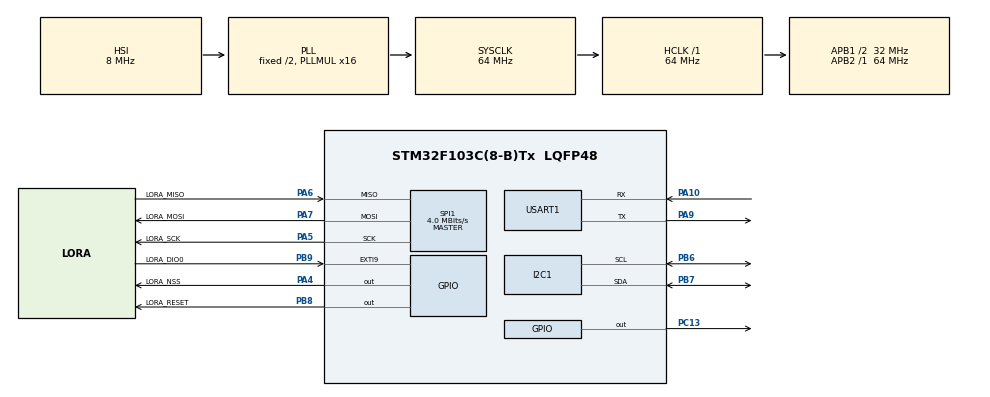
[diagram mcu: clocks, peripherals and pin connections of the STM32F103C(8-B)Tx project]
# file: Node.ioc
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Mcu.Family=STM32F1
Mcu.Name=STM32F103C(8-B)Tx
Mcu.Package=LQFP48
NVIC.EXTI9_5_IRQn=true\:1\:0\:true\:false\:true\:true\:true\:true
NVIC.PriorityGroup=NVIC_PRIORITYGROUP_4
NVIC.RTC_Alarm_IRQn=true\:0\:0\:false\:false\:true\:true\:true\:true
NVIC.RTC_IRQn=true\:0\:0\:false\:false\:true\:true\:true\:true
NVIC.TIM2_IRQn=true\:1\:0\:true\:false\:true\:true\:true\:true
PA10.Mode=Asynchronous
PA10.Signal=USART1_RX
PA13.Mode=Serial_Wire
PA13.Signal=SYS_JTMS-SWDIO
PA14.Mode=Serial_Wire
PA14.Signal=SYS_JTCK-SWCLK
PA4.GPIO_Label=LORA_NSS
PA4.GPIO_PuPd=GPIO_PULLUP
PA4.Signal=GPIO_Output
PA5.GPIO_Label=LORA_SCK
PA5.Mode=Full_Duplex_Master
PA5.Signal=SPI1_SCK
PA6.GPIO_Label=LORA_MISO
PA6.Mode=Full_Duplex_Master
PA6.Signal=SPI1_MISO
PA7.GPIO_Label=LORA_MOSI
PA7.Mode=Full_Duplex_Master
PA7.Signal=SPI1_MOSI
PA9.Mode=Asynchronous
PA9.Signal=USART1_TX
PB6.Mode=I2C
PB6.Signal=I2C1_SCL
PB7.Mode=I2C
PB7.Signal=I2C1_SDA
PB8.GPIO_Label=LORA_RESET
PB8.GPIO_PuPd=GPIO_PULLUP
PB8.PinState=GPIO_PIN_SET
PB8.Signal=GPIO_Output
PB9.GPIO_Label=LORA_DIO0
PB9.GPIO_ModeDefaultEXTI=GPIO_MODE_IT_RISING
PB9.Signal=GPXTI9
PC13-TAMPER-RTC.GPIO_PuPd=GPIO_PULLUP
PC13-TAMPER-RTC.PinState=GPIO_PIN_SET
PC13-TAMPER-RTC.Signal=GPIO_Output
ProjectManager.HeapSize=0x200
ProjectManager.StackSize=0x400
ProjectManager.TargetToolchain=STM32CubeIDE
RCC.AHBFreq_Value=64000000
RCC.APB1CLKDivider=RCC_HCLK_DIV2
RCC.APB1Freq_Value=32000000
RCC.APB1TimFreq_Value=64000000
RCC.APB2Freq_Value=64000000
RCC.APB2TimFreq_Value=64000000
RCC.HCLKFreq_Value=64000000
RCC.PLLMUL=RCC_PLL_MUL16
RCC.SYSCLKFreq_VALUE=64000000
RCC.SYSCLKSource=RCC_SYSCLKSOURCE_PLLCLK
RCC.USBFreq_Value=64000000
RTC.AsynchPrediv=39999
RTC.AutoPrediv=0
RTC.Format=RTC_FORMAT_BIN
SPI1.BaudRatePrescaler=SPI_BAUDRATEPRESCALER_16
SPI1.CalculateBaudRate=4.0 MBits/s
SPI1.Direction=SPI_DIRECTION_2LINES
SPI1.Mode=SPI_MODE_MASTER
SPI1.VirtualType=VM_MASTER
TIM2.AutoReloadPreload=TIM_AUTORELOAD_PRELOAD_ENABLE
TIM2.Period=999
TIM2.Prescaler=6399
USART1.VirtualMode=VM_ASYNC
VP_RTC_VS_RTC_Activate.Mode=RTC_Enabled
VP_RTC_VS_RTC_Calendar.Mode=RTC_Calendar
VP_TIM2_VS_ClockSourceINT.Mode=Internal
VP_TIM2_VS_ClockSourceITR.Mode=TriggerSource_ITR0
board=custom

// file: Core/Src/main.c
/* USER CODE BEGIN Header */
/**
  ******************************************************************************
  * @file           : main.c
  * @brief          : Main program body
  ******************************************************************************
  * @attention
  *
  * Copyright (c) 2026 STMicroelectronics.
  * All rights reserved.
  *
  * This software is licensed under terms that can be found in the LICENSE file
  * in the root directory of this software component.
  * If no LICENSE file comes with this software, it is provided AS-IS.
  *
  ******************************************************************************
  */
/* USER CODE END Header */
#include "main.h"

/* USER CODE BEGIN Includes */
#include "string.h"
#include "SHT30.h"
#include "LoRa.h"
#include "LoRa_network.h"
#include "node.h"

/* USER CODE END Includes */

/* USER CODE BEGIN PD */
#define NODE_ID  2

#if (NODE_ID == 1)
	#define TIME_SPACE_TX 1400
    #define PRESCALER 39999

#elif (NODE_ID == 2)
	#define TIME_SPACE_TX 900
    #define PRESCALER 39350

#elif (NODE_ID == 3)
	#define TIME_SPACE_TX 1200
    #define PRESCALER 39350
#else
    #define PRESCALER 39999
#endif
/* USER CODE END PD */

I2C_HandleTypeDef hi2c1;

RTC_HandleTypeDef hrtc;

SPI_HandleTypeDef hspi1;

TIM_HandleTypeDef htim2;

UART_HandleTypeDef huart1;

/* USER CODE BEGIN PV */
volatile uint8_t Alarm_flag=0;

volatile uint8_t Rx_done_flag=0;

volatile uint8_t node_id= NODE_ID;

volatile uint8_t beacon_received_flag=0;

uint8_t missed_count=0;

LoRa myLoRa;

frame_data_t frame;

node_state_t stt;

Date date;

uint8_t data_buff[9];

RTC_TimeTypeDef Time;

uint32_t error=0;

/* USER CODE END PV */

void SystemClock_Config(void);
static void MX_GPIO_Init(void);
static void MX_I2C1_Init(void);
static void MX_SPI1_Init(void);
static void MX_USART1_UART_Init(void);
static void MX_RTC_Init(void);
static void MX_TIM2_Init(void);

/* USER CODE BEGIN 0 */
void HAL_RTC_AlarmAEventCallback(RTC_HandleTypeDef *hrtc)
{
	Alarm_flag=1;
}

void HAL_GPIO_EXTI_Callback(uint16_t GPIO_Pin){
	if(GPIO_Pin==LORA_DIO0_Pin){
		Rx_done_flag=1;
	}
}

volatile uint8_t Timer_flag = 0;

void HAL_TIM_PeriodElapsedCallback(TIM_HandleTypeDef *htim)
{
    static uint16_t cnt = 0;

    if(htim->Instance == TIM2)
    {
        if(++cnt >= 200)
        {
            cnt = 0;
            Timer_flag = 1;
        }
    }
}
/* USER CODE END 0 */

int main(void)
{
  /* USER CODE BEGIN 1 */
Clear_Frame(&frame);
data_buff[0]=UID;
RTC_init(&date, 55, 1, 9, 4, 4, 6, 26);
  /* USER CODE END 1 */

  /* MCU Configuration--------------------------------------------------------*/

  /* Reset of all peripherals, Initializes the Flash interface and the Systick. */
  HAL_Init();

  /* Configure the system clock */
  SystemClock_Config();

  /* Initialize all configured peripherals */
  MX_GPIO_Init();
  MX_I2C1_Init();
  MX_SPI1_Init();
  MX_USART1_UART_Init();
  MX_RTC_Init();
  MX_TIM2_Init();
  /* USER CODE BEGIN 2 */

  RTC_write_data(&hi2c1, &date, DS3231_ADDR);

  if((node_id<=16)&&(node_id>0))
  {
	  flash_write_node_id((uint16_t)node_id);
  }

LoRa_Init:

  Node_LoRa_Init(&myLoRa, &hspi1);

  Node_LoRa_Check(&stt, &myLoRa);

  RTC_read_data(&hi2c1, &date, DS3231_ADDR);

  RTC_SetTime(&hrtc, &date, RTC_FORMAT_BIN);

  RTC_SetAlarm_NextPeriod(&hrtc, 120, RTC_FORMAT_BIN);

  node_id = Node_Read_Dev_ID(&frame);

  if(node_id){
	  data_buff[0]=node_id;
  }

  /* USER CODE END 2 */

  /* Infinite loop */
  /* USER CODE BEGIN WHILE */
  while (1)
  {
	  if(Alarm_flag||Rx_done_flag||Timer_flag)
	  {
		  switch(stt)
		  {
		  case(INIT_FAIL):
				  Alarm_flag = 0;
			  for(int i=0;i<=20;i++){
				  HAL_GPIO_TogglePin(GPIOC, GPIO_PIN_13);
				  HAL_Delay(400);
			  }
			  goto LoRa_Init;

		  case(INIT_SUCCESS):
				  Alarm_flag = 0;
		  // set timeout for RX init
		  HAL_RTC_GetTime(&hrtc, &Time,0);
		  RTC_read_data(&hi2c1, &date, DS3231_ADDR);
		  RTC_SetTime_Calib(&hrtc, &hi2c1, &date, RTC_FORMAT_BIN);
		  error=RTC_get_error(&hrtc, &hi2c1, &date, 0)*1000;
		  uint32_t tick=HAL_GetTick();
		  if(error>0){
		  while((HAL_GetTick()-tick)<error)
		  {
			  ;
		  }
		  }
		  HAL_RTC_GetTime(&hrtc, &Time,0);
		  	  	  if(RTC_SetAlarm(1,&hrtc,RTC_FORMAT_BIN)==1)
		  	  	  {
				  	  	  stt = RX_BEACON_INIT;
						  break;
		  	  	  }
		  	  	  stt= INIT_FAIL;
		  	  	  break;

		  case RX_BEACON_INIT:
			  Alarm_flag=0;
			  // use gettick because RTC change value in beacon receive routine (alarm is not exact)
			  __HAL_TIM_SET_COUNTER(&htim2, 0);
			  HAL_TIM_Base_Start_IT(&htim2);
		      Node_RxCONTIN_Init(&myLoRa);
		      stt = RX_BEACON;
		      break;

		  case(RX_BEACON):
				  if(Rx_done_flag)
				  {
					  Rx_done_flag=0;
					  if(Node_Rx_Frame(&myLoRa,&frame))
					  {
						  if(frame.type==FRAME_TYPE_BEACON)
						  {
							  LoRa_gotoMode(&myLoRa, STNBY_MODE);
							  if(Node_Rx_Beacon_Handle(&frame, &hi2c1, &date, &hrtc))
								  {
								  HAL_GPIO_WritePin(GPIOC, GPIO_PIN_13,1);
								  beacon_received_flag=1;
								  if(missed_count==1)
								  {
									  missed_count=0;
									  RTC_SetAlarm(2, &hrtc, 0);
									  RTC_read_data(&hi2c1, &date, DS3231_ADDR);
									  HAL_RTC_GetTime(&hrtc, &Time, 0);
							  	  	  stt=SLEEP_TO_NEXT_PERIOD;
									  break;
								  }
						  	  	  stt=RX_BEACON;
								  break;
								  }
						  }
					  }
					  break;
				  }
		    if(Timer_flag)
		    {
		    	Timer_flag =0;
		    	HAL_TIM_Base_Stop_IT(&htim2);
		        LoRa_gotoMode(&myLoRa, STNBY_MODE);
		        RTC_SetAlarm(1, &hrtc,0);
	  	  		RTC_read_data(&hi2c1, &date, DS3231_ADDR);
	  			HAL_RTC_GetTime(&hrtc, &Time,0);
		        stt = GET_DEV_ID;
		        break;
		    }

		    if(Alarm_flag)
		    {
		    	Alarm_flag=0;
		        LoRa_gotoMode(&myLoRa, STNBY_MODE);
		        RTC_SetAlarm(1, &hrtc,0);
	  	  		RTC_read_data(&hi2c1, &date, DS3231_ADDR);
	  			HAL_RTC_GetTime(&hrtc, &Time,0);
		        stt = GET_DEV_ID;
		        break;
		    }

		  case GET_DEV_ID:
		  	  	  	Alarm_flag=0;
		  	  	  	RTC_SetAlarm(2, &hrtc,0);
		  	  	  	node_id = Node_Read_Dev_ID(&frame);

		  	  	  	if((node_id<=16)&&(node_id>0))
		  	  	  	{
		  	  	  		stt= JOINED;
		  	  	  		break;
		  	  	  	}
		  	  	  	else
		  	  	  	{
		  	  	  		stt= UNJOINED;
		  	  	  		break;

		  	  	  	}
		  case(JOINED):
				  	  Alarm_flag=0;
				  	  if(beacon_received_flag==0)
				  	  {
					  		missed_count=1;
					  		RTC_SetAlarm(110, &hrtc,0);
					  		LoRa_gotoMode(&myLoRa, RXCONTIN_MODE);
					  		stt=RX_BEACON;
				  	  	  break;
				  	  }
				  	  else
				  	  {
					  	RTC_SetAlarm(1, &hrtc,0);
				  		beacon_received_flag=0;
				  		  stt=MEASURE;
				  		  break;
				  	  }

		  case(UNJOINED):
				  	  Alarm_flag=0;
				  	  if(beacon_received_flag==0)
				  	  {
				  		missed_count=1;
				  		RTC_SetAlarm(60, &hrtc,0);
				  		LoRa_gotoMode(&myLoRa, RXCONTIN_MODE);
				  		stt=RX_BEACON;
				  	  	  break;
				  	  }
				  	  else
				  	  {
				  		RTC_SetAlarm(1, &hrtc,0);
				  		beacon_received_flag=0;
				  		  stt=TX_JOIN_REQUEST;
				  		  break;
				  	  }

		  case(TX_JOIN_REQUEST):
				  Alarm_flag = 0;
		  RTC_read_data(&hi2c1, &date, DS3231_ADDR);
		  HAL_RTC_GetTime(&hrtc, &Time,0);
		 	RTC_SetAlarm(7, &hrtc,0);
		 	Create_Frame(&frame, join_request_frame, data_buff);
		 	if (Node_Create_Payload(&frame, join_request_frame))
		 	{
			  uint32_t time_start= HAL_GetTick();
			  uint8_t Tx_count= 1;
			  while(((Tx_count-6)!=0)){
			  if(HAL_GetTick()-time_start >=1400*Tx_count){
				  Tx_count++;
				  Node_Tx_JoinRequest(&myLoRa, 1000);
			  	  	  }
			  	  }
		 	}
		 	stt=RX_JOIN_RESPONSE_INIT;
		 	break;

		  case(RX_JOIN_RESPONSE_INIT):
				  Alarm_flag = 0;
		  	  	  RTC_read_data(&hi2c1, &date, DS3231_ADDR);
		  	  	  RTC_SetAlarm(10,&hrtc, 0);
		  	  	  if(Node_RxCONTIN_Init(&myLoRa))
		  	  	  {
		  	  		stt= RX_JOIN_RESPONSE;
		  	  	  }
		  	  	  else{
		  	  		  stt = INIT_FAIL;
		  	  		  break;
		  	  	  }

		  case(RX_JOIN_RESPONSE):
				  if(Rx_done_flag)
				  {
					  if(Node_Rx_Frame(&myLoRa,&frame)){
						  if(frame.type==FRAME_TYPE_JOIN_RESPONSE)
						  {
							  LoRa_gotoMode(&myLoRa, STNBY_MODE);
							  stt = JOIN_RESPONSE_HANDLE;
							  break;
						  }
					  }
					  break;
				  }
		  	  	  if(Alarm_flag)
		  	  	  {
		  	  		  LoRa_gotoMode(&myLoRa,STNBY_MODE);
		  	  		  Alarm_flag=0;
		  	  		  RTC_SetAlarm(2,&hrtc, 0);
		  	  		  stt = SLEEP_TO_NEXT_PERIOD;
		  	  		  break;
		  	  	  }

		  case(JOIN_RESPONSE_HANDLE):
				  Alarm_flag=0;
		  	  	  RTC_SetAlarm(2, &hrtc,0);
		  	  	  stt= SLEEP_TO_NEXT_PERIOD;
				  Node_Rx_JoinResponse_Handle(&myLoRa,&hrtc,&frame,(uint8_t*)(&node_id));
				  stt=SLEEP_TO_NEXT_PERIOD;
				  break;

		  case(MEASURE):
				RTC_read_data(&hi2c1, &date, DS3231_ADDR);
		  	  	HAL_RTC_GetTime(&hrtc, &Time,0);
				  Alarm_flag =0;
		  	  	  RTC_SetAlarm(3, &hrtc,0);
		  	  	  if(read_sensor_to_buff(&hi2c1, data_buff, AHT30_ADDR, 6, 2000))
		  	  		  {
		  	  		  stt=SLEEP_WAIT_TIME_SLOT;
		  	  		  break;
		  	  		  }
		  	  	  if(read_sensor_to_buff(&hi2c1, data_buff, AHT30_ADDR, 6, 2000))
		  	  		  {
		  	  		  stt=SLEEP_WAIT_TIME_SLOT;
		  	  		  break;
		  	  		  }
		  	  	  else
		  	  	  {
		  	  		  data_buff[3]=1;
		  	  		  data_buff[4]=1;
		  	  		  data_buff[5]=1;
		  	  		  data_buff[6]=1;
		  	  		  stt=SLEEP_WAIT_TIME_SLOT;
		  	  		  break;
		  	  	  }
		  case(SLEEP_WAIT_TIME_SLOT):
				  Alarm_flag=0;
		  	  	  RTC_read_data(&hi2c1, &date, DS3231_ADDR);
		  	  	  if(error>=0){
		  	  	  RTC_SetAlarm_Timeslot(node_id, &hrtc, 12, FORMAT_BIN);
		  	  	  }
		  	  	  if(error<0){
		  	  	  RTC_SetAlarm_Timeslot(node_id, &hrtc, 12+error/1000, FORMAT_BIN);
		  	  	  }
		  	  	  Create_Frame(&frame, data_frame, data_buff);
		  	  	  if(Node_Create_Payload(&frame, data_frame))
		  	  	  {
		  	  		  stt = TX_DATA;
		  	  		  /* go to low power mode
		  	  		   *
		  	  		   *
		  	  		   *
		  	  		   *                     */
		  	  		  break;
		  	  	  }
		  	  	  stt= SLEEP_TO_NEXT_PERIOD;
		  	  	  break;

		  case(TX_DATA):
				Alarm_flag=0;
		  	  	RTC_read_data(&hi2c1, &date, DS3231_ADDR);
				HAL_RTC_GetTime(&hrtc, &Time,0);
  	  	  	  	RTC_SetAlarm(18, &hrtc,0);
  	  	  	  	uint32_t time_start= HAL_GetTick();
  	  	  	  	uint8_t Tx_count= 1;
  	  	  		while((Tx_count-15)!=0)
  	  	  		{
  	  	  			if(HAL_GetTick()-time_start >=TIME_SPACE_TX*Tx_count)
  	  	  			{
  	  	  				Tx_count++;
  	  	  				Node_Tx_Data(&myLoRa, 1000);
  	  	  			}
					  HAL_GPIO_TogglePin(GPIOC, GPIO_PIN_13);
  	  	  		}
  	  	  		stt= SLEEP_TO_NEXT_PERIOD;
  	  	  		break;

		  case(SLEEP_TO_NEXT_PERIOD):
				  Alarm_flag=0;
		  	  	  HAL_RTC_GetTime(&hrtc, &Time,0);
				 RTC_read_data(&hi2c1, &date, DS3231_ADDR);
				 RTC_SetTime_Calib(&hrtc, &hi2c1, &date, 0);
				  RTC_SetAlarm_NextPeriod(&hrtc, 120,0);
		  	  	  LoRa_gotoMode(&myLoRa, STNBY_MODE);
		  	  	  stt= INIT_SUCCESS;
		  	  	  break;
		  default:
			  break;

		  }
	  }

    /* USER CODE END WHILE */

  }
}

void SystemClock_Config(void)
{
  RCC_OscInitTypeDef RCC_OscInitStruct = {0};
  RCC_ClkInitTypeDef RCC_ClkInitStruct = {0};
  RCC_PeriphCLKInitTypeDef PeriphClkInit = {0};

  /** Initializes the RCC Oscillators according to the specified parameters
  * in the RCC_OscInitTypeDef structure.
  */
  RCC_OscInitStruct.OscillatorType = RCC_OSCILLATORTYPE_HSI|RCC_OSCILLATORTYPE_LSI;
  RCC_OscInitStruct.HSIState = RCC_HSI_ON;
  RCC_OscInitStruct.HSICalibrationValue = RCC_HSICALIBRATION_DEFAULT;
  RCC_OscInitStruct.LSIState = RCC_LSI_ON;
  RCC_OscInitStruct.PLL.PLLState = RCC_PLL_ON;
  RCC_OscInitStruct.PLL.PLLSource = RCC_PLLSOURCE_HSI_DIV2;
  RCC_OscInitStruct.PLL.PLLMUL = RCC_PLL_MUL16;
  if (HAL_RCC_OscConfig(&RCC_OscInitStruct) != HAL_OK)
  {
    Error_Handler();
  }

  /** Initializes the CPU, AHB and APB buses clocks
  */
  RCC_ClkInitStruct.ClockType = RCC_CLOCKTYPE_HCLK|RCC_CLOCKTYPE_SYSCLK
                              |RCC_CLOCKTYPE_PCLK1|RCC_CLOCKTYPE_PCLK2;
  RCC_ClkInitStruct.SYSCLKSource = RCC_SYSCLKSOURCE_PLLCLK;
  RCC_ClkInitStruct.AHBCLKDivider = RCC_SYSCLK_DIV1;
  RCC_ClkInitStruct.APB1CLKDivider = RCC_HCLK_DIV2;
  RCC_ClkInitStruct.APB2CLKDivider = RCC_HCLK_DIV1;

  if (HAL_RCC_ClockConfig(&RCC_ClkInitStruct, FLASH_LATENCY_2) != HAL_OK)
  {
    Error_Handler();
  }
  PeriphClkInit.PeriphClockSelection = RCC_PERIPHCLK_RTC;
  PeriphClkInit.RTCClockSelection = RCC_RTCCLKSOURCE_LSI;
  if (HAL_RCCEx_PeriphCLKConfig(&PeriphClkInit) != HAL_OK)
  {
    Error_Handler();
  }
}

static void MX_I2C1_Init(void)
{

  hi2c1.Instance = I2C1;
  hi2c1.Init.ClockSpeed = 100000;
  hi2c1.Init.DutyCycle = I2C_DUTYCYCLE_2;
  hi2c1.Init.OwnAddress1 = 0;
  hi2c1.Init.AddressingMode = I2C_ADDRESSINGMODE_7BIT;
  hi2c1.Init.DualAddressMode = I2C_DUALADDRESS_DISABLE;
  hi2c1.Init.OwnAddress2 = 0;
  hi2c1.Init.GeneralCallMode = I2C_GENERALCALL_DISABLE;
  hi2c1.Init.NoStretchMode = I2C_NOSTRETCH_DISABLE;
  if (HAL_I2C_Init(&hi2c1) != HAL_OK)
  {
    Error_Handler();
  }

}

static void MX_RTC_Init(void)
{

  RTC_TimeTypeDef sTime = {0};
  RTC_DateTypeDef DateToUpdate = {0};

  /** Initialize RTC Only
  */
  hrtc.Instance = RTC;
  hrtc.Init.AsynchPrediv = PRESCALER;
  hrtc.Init.OutPut = RTC_OUTPUTSOURCE_ALARM;
  if (HAL_RTC_Init(&hrtc) != HAL_OK)
  {
    Error_Handler();
  }

  /** Initialize RTC and set the Time and Date
  */
  sTime.Hours = 0;
  sTime.Minutes = 0;
  sTime.Seconds = 0;

  if (HAL_RTC_SetTime(&hrtc, &sTime, RTC_FORMAT_BIN) != HAL_OK)
  {
    Error_Handler();
  }
  DateToUpdate.WeekDay = RTC_WEEKDAY_MONDAY;
  DateToUpdate.Month = RTC_MONTH_JANUARY;
  DateToUpdate.Date = 1;
  DateToUpdate.Year = 0;

  if (HAL_RTC_SetDate(&hrtc, &DateToUpdate, RTC_FORMAT_BIN) != HAL_OK)
  {
    Error_Handler();
  }

}

static void MX_SPI1_Init(void)
{

  /* SPI1 parameter configuration*/
  hspi1.Instance = SPI1;
  hspi1.Init.Mode = SPI_MODE_MASTER;
  hspi1.Init.Direction = SPI_DIRECTION_2LINES;
  hspi1.Init.DataSize = SPI_DATASIZE_8BIT;
  hspi1.Init.CLKPolarity = SPI_POLARITY_LOW;
  hspi1.Init.CLKPhase = SPI_PHASE_1EDGE;
  hspi1.Init.NSS = SPI_NSS_SOFT;
  hspi1.Init.BaudRatePrescaler = SPI_BAUDRATEPRESCALER_16;
  hspi1.Init.FirstBit = SPI_FIRSTBIT_MSB;
  hspi1.Init.TIMode = SPI_TIMODE_DISABLE;
  hspi1.Init.CRCCalculation = SPI_CRCCALCULATION_DISABLE;
  hspi1.Init.CRCPolynomial = 10;
  if (HAL_SPI_Init(&hspi1) != HAL_OK)
  {
    Error_Handler();
  }

}

static void MX_TIM2_Init(void)
{

  TIM_ClockConfigTypeDef sClockSourceConfig = {0};
  TIM_SlaveConfigTypeDef sSlaveConfig = {0};
  TIM_MasterConfigTypeDef sMasterConfig = {0};

  htim2.Instance = TIM2;
  htim2.Init.Prescaler = 6399;
  htim2.Init.CounterMode = TIM_COUNTERMODE_UP;
  htim2.Init.Period = 999;
  htim2.Init.ClockDivision = TIM_CLOCKDIVISION_DIV1;
  htim2.Init.AutoReloadPreload = TIM_AUTORELOAD_PRELOAD_ENABLE;
  if (HAL_TIM_Base_Init(&htim2) != HAL_OK)
  {
    Error_Handler();
  }
  sClockSourceConfig.ClockSource = TIM_CLOCKSOURCE_INTERNAL;
  if (HAL_TIM_ConfigClockSource(&htim2, &sClockSourceConfig) != HAL_OK)
  {
    Error_Handler();
  }
  sSlaveConfig.SlaveMode = TIM_SLAVEMODE_DISABLE;
  sSlaveConfig.InputTrigger = TIM_TS_ITR0;
  if (HAL_TIM_SlaveConfigSynchro(&htim2, &sSlaveConfig) != HAL_OK)
  {
    Error_Handler();
  }
  sMasterConfig.MasterOutputTrigger = TIM_TRGO_RESET;
  sMasterConfig.MasterSlaveMode = TIM_MASTERSLAVEMODE_DISABLE;
  if (HAL_TIMEx_MasterConfigSynchronization(&htim2, &sMasterConfig) != HAL_OK)
  {
    Error_Handler();
  }

}

static void MX_USART1_UART_Init(void)
{

  huart1.Instance = USART1;
  huart1.Init.BaudRate = 115200;
  huart1.Init.WordLength = UART_WORDLENGTH_8B;
  huart1.Init.StopBits = UART_STOPBITS_1;
  huart1.Init.Parity = UART_PARITY_NONE;
  huart1.Init.Mode = UART_MODE_TX_RX;
  huart1.Init.HwFlowCtl = UART_HWCONTROL_NONE;
  huart1.Init.OverSampling = UART_OVERSAMPLING_16;
  if (HAL_UART_Init(&huart1) != HAL_OK)
  {
    Error_Handler();
  }

}

static void MX_GPIO_Init(void)
{
  GPIO_InitTypeDef GPIO_InitStruct = {0};

  /* GPIO Ports Clock Enable */
  __HAL_RCC_GPIOC_CLK_ENABLE();
  __HAL_RCC_GPIOA_CLK_ENABLE();
  __HAL_RCC_GPIOB_CLK_ENABLE();

  /*Configure GPIO pin Output Level */
  HAL_GPIO_WritePin(GPIOC, GPIO_PIN_13, GPIO_PIN_SET);

  /*Configure GPIO pin Output Level */
  HAL_GPIO_WritePin(LORA_NSS_GPIO_Port, LORA_NSS_Pin, GPIO_PIN_RESET);

  /*Configure GPIO pin Output Level */
  HAL_GPIO_WritePin(LORA_RESET_GPIO_Port, LORA_RESET_Pin, GPIO_PIN_SET);

  /*Configure GPIO pin : PC13 */
  GPIO_InitStruct.Pin = GPIO_PIN_13;
  GPIO_InitStruct.Mode = GPIO_MODE_OUTPUT_PP;
  GPIO_InitStruct.Pull = GPIO_PULLUP;
  GPIO_InitStruct.Speed = GPIO_SPEED_FREQ_LOW;
  HAL_GPIO_Init(GPIOC, &GPIO_InitStruct);

  /*Configure GPIO pin : LORA_NSS_Pin */
  GPIO_InitStruct.Pin = LORA_NSS_Pin;
  GPIO_InitStruct.Mode = GPIO_MODE_OUTPUT_PP;
  GPIO_InitStruct.Pull = GPIO_PULLUP;
  GPIO_InitStruct.Speed = GPIO_SPEED_FREQ_LOW;
  HAL_GPIO_Init(LORA_NSS_GPIO_Port, &GPIO_InitStruct);

  /*Configure GPIO pin : LORA_RESET_Pin */
  GPIO_InitStruct.Pin = LORA_RESET_Pin;
  GPIO_InitStruct.Mode = GPIO_MODE_OUTPUT_PP;
  GPIO_InitStruct.Pull = GPIO_PULLUP;
  GPIO_InitStruct.Speed = GPIO_SPEED_FREQ_LOW;
  HAL_GPIO_Init(LORA_RESET_GPIO_Port, &GPIO_InitStruct);

  /*Configure GPIO pin : LORA_DIO0_Pin */
  GPIO_InitStruct.Pin = LORA_DIO0_Pin;
  GPIO_InitStruct.Mode = GPIO_MODE_IT_RISING;
  GPIO_InitStruct.Pull = GPIO_NOPULL;
  HAL_GPIO_Init(LORA_DIO0_GPIO_Port, &GPIO_InitStruct);

  /* EXTI interrupt init*/
  HAL_NVIC_SetPriority(EXTI9_5_IRQn, 2, 0);
  HAL_NVIC_EnableIRQ(EXTI9_5_IRQn);

/* USER CODE BEGIN MX_GPIO_Init_2 */
  HAL_NVIC_SetPriority(RTC_Alarm_IRQn, 1, 0);
  HAL_NVIC_EnableIRQ(RTC_Alarm_IRQn);

  HAL_NVIC_SetPriority(SysTick_IRQn, 3, 0);
  HAL_NVIC_EnableIRQ(SysTick_IRQn);

  HAL_NVIC_SetPriority(TIM2_IRQn, 3, 0);
  HAL_NVIC_EnableIRQ(TIM2_IRQn);
/* USER CODE END MX_GPIO_Init_2 */
}

void Error_Handler(void)
{
  __disable_irq();
  while (1)
  {
  }
}
